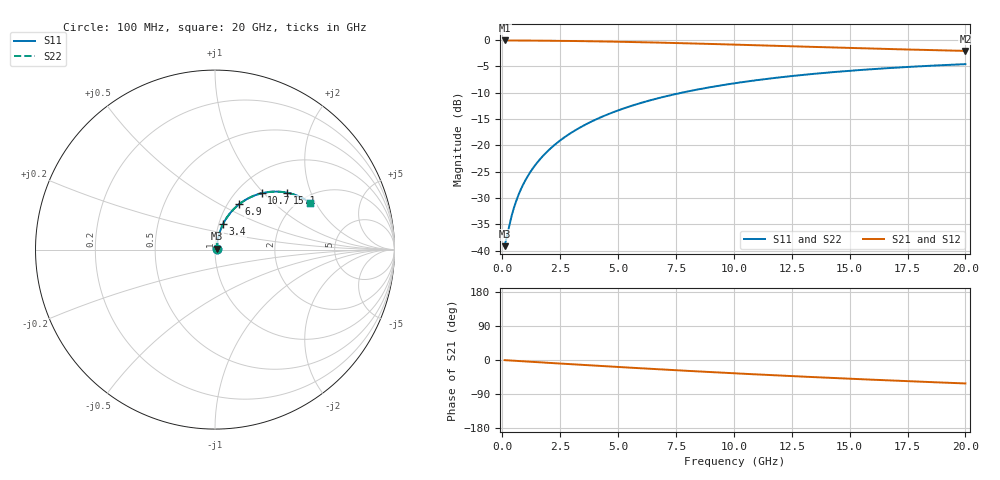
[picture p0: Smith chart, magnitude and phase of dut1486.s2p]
! Touchstone file exported from HFSS 2026.1.0
!  File:  C:/ffzhzh/LocalFiles/Ansys_Project_Files/temp_train_TMRDL_1486_1783167786_51560.aedt
!  Generated:  08:24:38 PM Jul  4, 2026
!  Design:  TMRDL
!  Project:  temp_train_TMRDL_1486_1783167786_51560
! Variables:
!  h_bsmrdl = 2um
!  h_ox = 20um
!  h_rdl = 5um
!  h_sub = 80um
!  h_tmrdl = 3.1um
!  h_tsv = 80um
!  h_via = 3um
!  l_bsmrdl = 300um
!  l_sub = 1350.8um
!  l_tmrdl = 950.8um
!  m_sub = 200um
!  pitch = 36.4um
!  r_tsv = 6um
!  s_tmrdl = 10um
!  w_bsmrdl = 18um
!  w_sub = 500um
!  w_tmrdl = 10.71um
!  x_tsv_center1 = 956.155um
!  x_tsv_center2 = 1274.155um
!  x_tsv_center3 = 2235.665um
!  x_tsv_center4 = 2553.665um
!  x_tsv_center5 = 3515.175um
!  x_tsv_center6 = 3833.175um
# GHz S MA R 50.000000
! Terminal data exported
! Port[1] = TM_RDL1_1_T1
! Port[2] = TM_RDL1_1_T2
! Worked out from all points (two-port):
!   200 points, 100 MHz to 20 GHz, reference 50 ohm
!   highest |S21| = -0.09 dB at 100 MHz (marker M1); lowest = -2.1 dB at 20 GHz (marker M2)
!   |S21| within 3 dB of the highest: start of sweep to end of sweep
!   lowest |S11| = -39.1 dB at 100 MHz (marker M3), VSWR 1.02, Z = 51 + j0.472 ohm
!   |S11| at or under -10 dB: start of sweep to 7.757 GHz
!   |S22| runs from -39.1 to -4.6 dB; largest |S21 - S12| = 3.6e-15
!   S11 on the Smith chart (normalised r, x): 100 MHz: 1.02, +0.01; 3.4 GHz: 1.05, +0.31; 6.9 GHz: 1.13, +0.62; 10.7 GHz: 1.29, +0.97; 15.1 GHz: 1.61, +1.38; 20 GHz: 2.24, +1.80
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0.1  0.01104 24.8  0.99 -0.4  0.99 -0.4  0.01104 24.8
! Gamma 0 0 0 0
! Port Impedance 50 0 50 0
0.4  0.02127 59.3  0.9895 -1.5  0.9895 -1.5  0.02127 59.3
0.6  0.0296 66.5  0.9889 -2.3  0.9889 -2.3  0.0296 66.5
0.7  0.03385 68.7  0.9887 -2.7  0.9887 -2.7  0.03385 68.7
0.9  0.04241 71.4  0.9881 -3.4  0.9881 -3.4  0.04241 71.4
1.2  0.05532 73.6  0.9871 -4.5  0.9871 -4.5  0.05532 73.6
1.6  0.07259 74.7  0.9857 -6.0  0.9857 -6.0  0.07259 74.7
2.1  0.09415 74.8  0.9836 -7.9  0.9836 -7.9  0.09415 74.8
2.7  0.1199 74.0  0.9805 -10.1  0.9805 -10.1  0.1199 74.0
3.4  0.1494 72.4  0.9761 -12.7  0.9761 -12.7  0.1494 72.4
3.5  0.1536 72.2  0.9754 -13.0  0.9754 -13.0  0.1536 72.2
4.2  0.1825 70.3  0.97 -15.6  0.97 -15.6  0.1825 70.3
5  0.2146 67.9  0.9629 -18.4  0.9629 -18.4  0.2146 67.9
6.8  0.2826 62.3  0.9441 -24.6  0.9441 -24.6  0.2826 62.3
6.9  0.2862 62.0  0.943 -25.0  0.943 -25.0  0.2862 62.0
8.4  0.3377 57.3  0.9249 -29.9  0.9249 -29.9  0.3378 57.3
10.1  0.3904 52.1  0.9032 -35.3  0.9032 -35.3  0.3905 52.1
10.7  0.4076 50.4  0.8954 -37.2  0.8954 -37.2  0.4076 50.3
13.4  0.476 42.7  0.8605 -45.0  0.8605 -45.0  0.476 42.7
15.1  0.512 38.2  0.8396 -49.7  0.8396 -49.7  0.512 38.2
16.7  0.5414 34.2  0.8211 -53.8  0.8211 -53.8  0.5414 34.1
20  0.5899 26.3  0.7878 -61.9  0.7878 -61.9  0.5899 26.3
